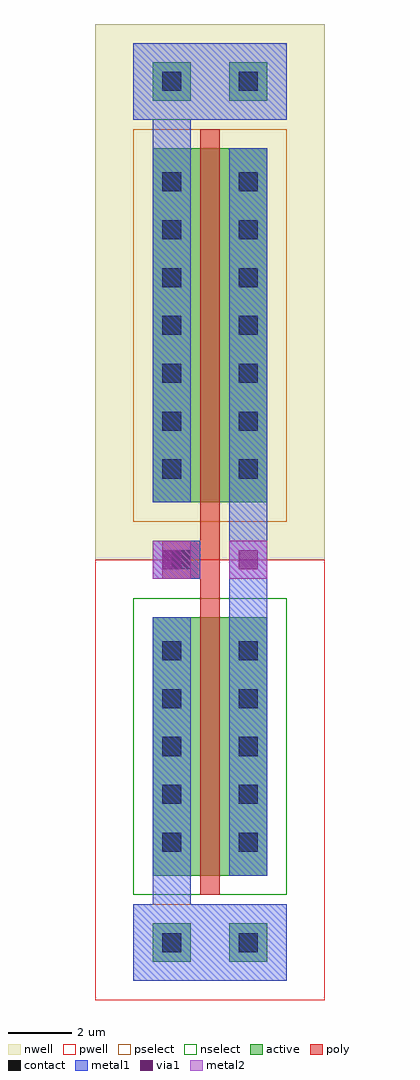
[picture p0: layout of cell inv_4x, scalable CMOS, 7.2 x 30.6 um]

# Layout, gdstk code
import gdstk
lib = gdstk.Library(unit=1e-6, precision=1e-09)
def R(c, l, rs):  # rectangles x0, y0, x1, y1
    for r in rs: c.add(gdstk.rectangle(r[:2], r[2:], *l))
def A(c, l, x, y, w, h, nx, ny, dx, dy):  # array of equal rectangles
    R(c, l, [(x+i*dx, y+j*dy, x+i*dx+w, y+j*dy+h) for i in range(nx) for j in range(ny)])
contact = (25, 0)
pwell = (41, 0)
nwell = (42, 0)
active = (43, 0)
pselect = (44, 0)
nselect = (45, 0)
poly = (46, 0)
metal1 = (49, 0)
via1 = (50, 0)
metal2 = (51, 0)

inv_4x = lib.new_cell('inv_4x')
A(inv_4x, contact, 0.3, 2.85, 0.6, 0.6, 1, 5, 0, 1.5)
A(inv_4x, contact, 2.7, 2.85, 0.6, 0.6, 1, 5, 0, 1.5)
A(inv_4x, contact, 0.3, 14.55, 0.6, 0.6, 1, 7, 0, 1.5)
A(inv_4x, contact, 2.7, 14.55, 0.6, 0.6, 1, 7, 0, 1.5)
R(inv_4x, contact, [(0.3,-0.3,0.9,0.3), (2.7,-0.3,3.3,0.3), (0.6,11.7,1.2,12.3), (0.3,26.7,0.9,27.3), (2.7,26.7,3.3,27.3)])
R(inv_4x, pwell, [(-1.8,-1.8,5.4,12), (-0.9,-1.5,2.1,1.5), (1.5,-1.5,4.5,1.5), (-1.8,0.3,3,12), (-1.2,0.3,4.8,12), (0.6,0.3,5.4,12), (-1.65,3.9,2.925,8.4), (0.675,3.9,5.25,8.4), (0.75,3.9,5.25,12)])
R(inv_4x, nwell, [(-1.8,12,3,26.7), (-1.8,12,5.4,28.8), (-1.2,12,4.8,26.7), (0.6,12,5.4,26.7), (0.675,17.25,5.25,21.75), (-1.65,20.85,2.925,25.35), (-0.9,25.5,2.1,28.5), (1.5,25.5,4.5,28.5)])
R(inv_4x, active, [(0,-0.6,1.2,0.6), (2.4,-0.6,3.6,0.6), (0,2.1,1.2,10.2), (0.6,2.1,3,10.2), (2.4,2.1,3.6,10.2), (0.15,5.7,1.125,6.6), (2.475,5.7,3.45,6.6), (2.55,5.7,3.45,10.2), (0,13.8,1.2,24.9), (0.6,13.8,3,24.9), (2.4,13.8,3.6,24.9), (2.475,19.05,3.45,19.95), (0.15,22.65,1.125,23.55), (0,26.4,1.2,27.6), (2.4,26.4,3.6,27.6)])
R(inv_4x, pselect, [(-0.6,-1.2,1.8,1.2), (1.8,-1.2,4.2,1.2), (-0.6,13.2,1.8,25.5), (0,13.2,3.6,25.5), (1.8,13.2,4.2,25.5), (1.875,18.45,4.05,20.55), (-0.45,22.05,1.725,24.15)])
R(inv_4x, nselect, [(-0.6,1.5,1.8,10.8), (0,1.5,3.6,10.8), (1.8,1.5,4.2,10.8), (-0.45,5.1,1.725,7.2), (1.875,5.1,4.05,7.2), (1.95,5.1,4.05,10.8), (-0.6,25.8,1.8,28.2), (1.8,25.8,4.2,28.2)])
R(inv_4x, poly, [(1.5,1.5,2.1,10.8), (1.5,10.5,2.1,12.3), (0.3,11.4,1.5,12.6), (0.6,11.7,2.1,12.3), (1.5,11.7,2.1,13.5), (1.5,13.2,2.1,25.5)])
R(inv_4x, metal1, [(-0.6,-1.2,4.2,1.2), (-0.6,-1.2,4.2,1.2), (0,-0.6,1.2,0.6), (0,-0.6,1.2,6.15), (2.4,-0.6,3.6,0.6), (0,2.1,1.2,10.2), (2.4,2.1,3.6,10.2), (2.4,6.15,3.6,12.6), (0,11.4,1.2,12.6), (0.3,11.4,1.5,12.6), (0.3,11.4,1.5,12.6), (2.4,11.4,3.6,12.6), (2.4,11.4,3.6,19.05), (2.55,11.55,3.45,12.45), (0,13.8,1.2,24.9), (2.4,13.8,3.6,24.9), (0,19.35,1.2,27.6), (-0.6,25.8,1.8,28.2), (-0.6,25.8,4.2,28.2), (0,26.4,1.2,27.6), (0,26.4,1.2,27.6), (2.4,26.4,3.6,27.6)])
R(inv_4x, via1, [(0.3,11.7,0.9,12.3), (2.7,11.7,3.3,12.3)])
R(inv_4x, metal2, [(0,11.4,1.2,12.6), (2.4,11.4,3.6,12.6)])

lib.write_gds('inv_4x.gds')
